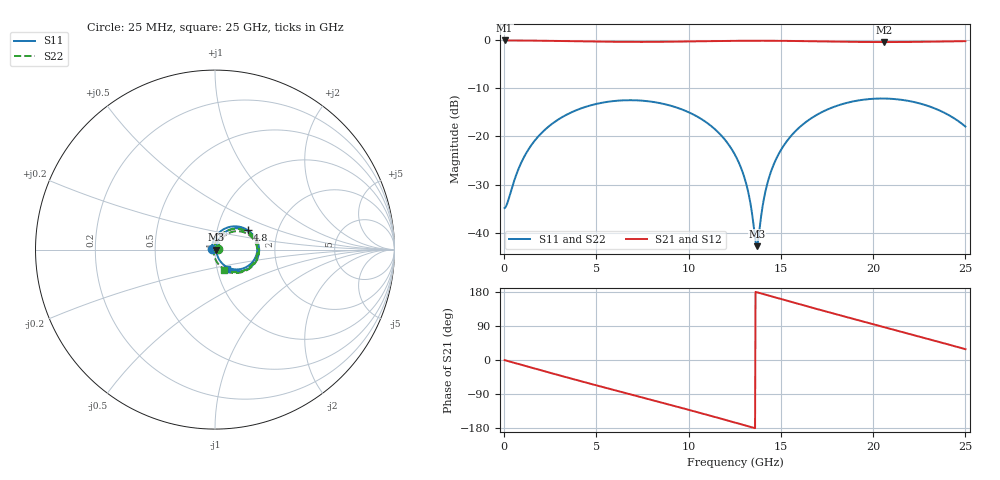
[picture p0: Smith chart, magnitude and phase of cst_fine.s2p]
! thru_BV_vna_clk_w5_in: 2×thru F.Cu, 6 mm
! stackup: as the board case
! ports: 1 near, 2 far
! CST Studio Suite 2025.5 Release from 2025-05-30, time domain (FIT, hexahedral, PBA), 252450 mesh cells, 41 s
! mesh: {'lpw': 30.0, 'lpb': 30.0, 'minstep': 0.0, 'ratio': 20}; ports: port 1 (face); port 2 (face)
! interpolated from CST's 1001 samples to the case grid
# Hz S RI R 50
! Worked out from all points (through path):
!   1000 points, 25 MHz to 25 GHz, reference 50 ohm
!   highest |S21| = -0.17 dB at 25 MHz (marker M1); lowest = -0.5 dB at 20.6 GHz (marker M2)
!   group delay of S21, straight-line fit = 36.8 ps
!   lowest |S11| = -42.7 dB at 13.7 GHz (marker M3), VSWR 1.01, Z = 50.7 + j0.0561 ohm
!   |S11| at or under -10 dB: start of sweep to end of sweep
!   |S22| runs from -42.7 to -12.2 dB; largest |S21 - S12| = 2.5e-07
!   S11 on the Smith chart (normalised r, x): 25 MHz: 0.96, +0.00; 4.8 GHz: 1.40, +0.32; 25 GHz: 1.12, -0.24
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2.5e7  -0.0181 0.00147  0.9803 -0.00584  0.9803 -0.00584  0.0181 0.00126
8.75e8  -0.00802 0.0502  0.958 -0.2024  0.958 -0.2024  0.0276 0.0427
1.625e9  0.0154 0.0872  0.9045 -0.3676  0.9045 -0.3676  0.0498 0.0733
2.75e9  0.0697 0.123  0.7717 -0.5872  0.7717 -0.5872  0.1 0.0999
4.2e9  0.1517 0.1232  0.5297 -0.7997  0.5297 -0.7997  0.1726 0.0916
4.8e9  0.1821 0.1081  0.414 -0.8608  0.414 -0.8608  0.1981 0.0748
6.575e9  0.2344 0.0271  0.0461 -0.9463  0.0461 -0.9463  0.236 -0.00418
8.35e9  0.2128 -0.064  -0.3244 -0.8917  -0.3244 -0.8917  0.2042 -0.0876
1.0875e10  0.0943 -0.1076  -0.7695 -0.5789  -0.7695 -0.5789  0.0772 -0.1204
1.2525e10  0.0252 -0.0585  -0.9395 -0.2471  -0.9395 -0.2471  0.00689 -0.0633
1.315e10  0.0116 -0.0284  -0.9674 -0.1056  -0.9674 -0.1056  -0.00521 -0.0302
1.36e10  0.00752 -0.0048  -0.9737 -0.00141  -0.9737 -0.00141  -0.00751 -0.00482
1.37e10  0.00729 0.000552  -0.9735 0.0218  -0.9735 0.0218  -0.00726 0.000878
1.42e10  0.00991 0.0272  -0.9637 0.1375  -0.9637 0.1375  -0.0019 0.0289
1.47e10  0.0187 0.0528  -0.9395 0.2509  -0.9395 0.2509  0.0101 0.0551
1.5525e10  0.0456 0.0886  -0.8697 0.4277  -0.8697 0.4277  0.0423 0.0902
1.6675e10  0.102 0.1168  -0.7183 0.6403  -0.7183 0.6403  0.1044 0.1147
1.865e10  0.2057 0.0882  -0.3576 0.8793  -0.3576 0.8793  0.2088 0.0804
2.06e10  0.2457 -0.0109  0.0527 0.942  0.0527 0.942  0.2453 -0.0166
2.085e10  0.2438 -0.0249  0.1059 0.9376  0.1059 0.9376  0.2432 -0.0301
2.285e10  0.1789 -0.1098  0.5121 0.8011  0.5121 0.8011  0.1747 -0.1163
2.5e10  0.0689 -0.1057  0.847 0.4601  0.847 0.4601  0.0512 -0.1153
